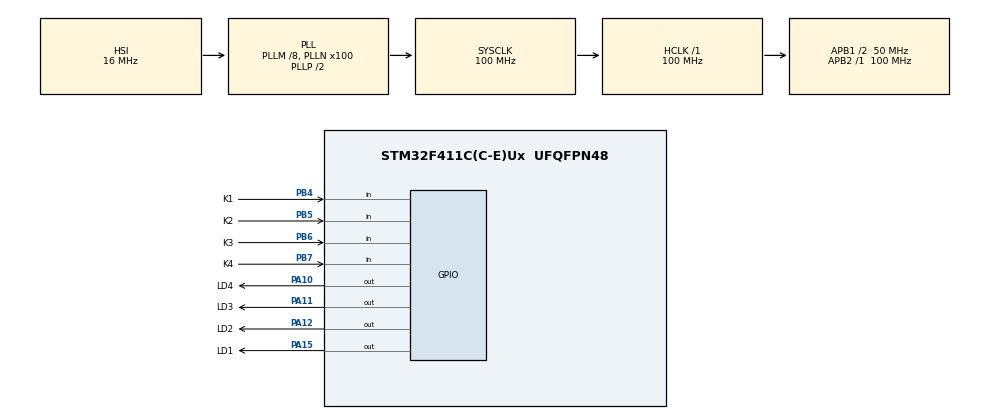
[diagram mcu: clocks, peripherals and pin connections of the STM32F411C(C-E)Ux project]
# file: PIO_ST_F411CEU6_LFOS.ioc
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Mcu.Family=STM32F4
Mcu.Name=STM32F411C(C-E)Ux
Mcu.Package=UFQFPN48
NVIC.PriorityGroup=NVIC_PRIORITYGROUP_4
NVIC.TIM1_TRG_COM_TIM11_IRQn=true\:0\:0\:false\:false\:true\:true\:true
PA10.GPIO_Label=LD4
PA10.GPIO_PuPd=GPIO_PULLDOWN
PA10.Signal=GPIO_Output
PA11.GPIO_Label=LD3
PA11.GPIO_PuPd=GPIO_PULLDOWN
PA11.Signal=GPIO_Output
PA12.GPIO_Label=LD2
PA12.GPIO_PuPd=GPIO_PULLDOWN
PA12.Signal=GPIO_Output
PA15.GPIO_Label=LD1
PA15.GPIO_PuPd=GPIO_PULLDOWN
PA15.Signal=GPIO_Output
PB4.GPIO_Label=K1
PB4.GPIO_PuPd=GPIO_PULLUP
PB4.Signal=GPIO_Input
PB5.GPIO_Label=K2
PB5.GPIO_PuPd=GPIO_PULLUP
PB5.Signal=GPIO_Input
PB6.GPIO_Label=K3
PB6.GPIO_PuPd=GPIO_PULLUP
PB6.Signal=GPIO_Input
PB7.GPIO_Label=K4
PB7.GPIO_PuPd=GPIO_PULLUP
PB7.Signal=GPIO_Input
ProjectManager.HeapSize=0x200
ProjectManager.StackSize=0x400
ProjectManager.TargetToolchain=Makefile
RCC.48MHZClocksFreq_Value=50000000
RCC.AHBFreq_Value=100000000
RCC.APB1CLKDivider=RCC_HCLK_DIV2
RCC.APB1Freq_Value=50000000
RCC.APB1TimFreq_Value=100000000
RCC.APB2Freq_Value=100000000
RCC.APB2TimFreq_Value=100000000
RCC.CortexFreq_Value=100000000
RCC.HCLKFreq_Value=100000000
RCC.HSE_VALUE=25000000
RCC.HSI_VALUE=16000000
RCC.LSE_VALUE=32768
RCC.PLLM=8
RCC.PLLN=100
RCC.SYSCLKFreq_VALUE=100000000
RCC.SYSCLKSource=RCC_SYSCLKSOURCE_PLLCLK
RCC.VCOOutputFreq_Value=200000000
TIM11.AutoReloadPreload=TIM_AUTORELOAD_PRELOAD_ENABLE
TIM11.Period=999
TIM11.Prescaler=99
VP_TIM11_VS_ClockSourceINT.Mode=Enable_Timer
board=custom

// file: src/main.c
/* USER CODE BEGIN Header */
/**
  ******************************************************************************
  * @file           : main.c
  * @brief          : Main program body
  ******************************************************************************
  * @attention
  *
  * Copyright (c) 2022 STMicroelectronics.
  * All rights reserved.
  *
  * This software is licensed under terms that can be found in the LICENSE file
  * in the root directory of this software component.
  * If no LICENSE file comes with this software, it is provided AS-IS.
  *
  ******************************************************************************
  */
/* USER CODE END Header */
#include "main.h"
#include "tim.h"
#include "gpio.h"

/* USER CODE BEGIN Includes */
#include "led.h"
#include "button.h"
#include "LF_OS.h"
/* USER CODE END Includes */

/* USER CODE BEGIN PTD */
void led_blink_task(void);
void btn4_callback(void *btn);
void btn3_callback(void *btn);
void btn2_callback(void *btn);
void btn1_callback(void *btn);
uint8_t read_btn4_level(void);
uint8_t read_btn3_level(void);
uint8_t read_btn2_level(void);
uint8_t read_btn1_level(void);
void btn_process_task(void);
void btn_init(void);
/* USER CODE END PTD */

/* USER CODE BEGIN PV */
Button_t btn1;
Button_t btn2;
Button_t btn3;
Button_t btn4;

/* USER CODE END PV */

void SystemClock_Config(void);

int main(void)
{

  /* MCU Configuration--------------------------------------------------------*/

  /* Reset of all peripherals, Initializes the Flash interface and the Systick. */
  HAL_Init();

  /* Configure the system clock */
  SystemClock_Config();

  /* Initialize all configured peripherals */
  MX_GPIO_Init();
  MX_TIM11_Init();
  btn_init();
  /* USER CODE BEGIN 2 */
  x_l_blink_set(&x_l_red_blink_init,LD4_GPIO_Port,LD4_Pin,X_L_LED_BLINK_MODE_B);
  x_l_blink_set(&x_l_yellow_blink_init,LD3_GPIO_Port,LD3_Pin,X_L_LED_BLINK_MODE_C);
  // x_l_blink_set(&x_l_blue_blink_init,LD2_GPIO_Port,LD2_Pin,X_L_LED_BLINK_MODE_B);
  // x_l_blink_set(&x_l_green_blink_init,LD1_GPIO_Port,LD1_Pin,X_L_LED_BLINK_MODE_C);

  x_l_tsk_reset_task(0, (l_func_t)led_blink_task,	X_L_TSK_TASK_MODE_ENABLE,	0,	100);
  x_l_tsk_reset_task(1, (l_func_t)btn_process_task,	X_L_TSK_TASK_MODE_ENABLE,	0,	20);

  HAL_TIM_Base_Start_IT(&htim11);
  /* USER CODE END 2 */

  /* Infinite loop */
  while (1)
  {
    // Button_Process();
    // HAL_Delay(20);
  }
}

void SystemClock_Config(void)
{
  RCC_OscInitTypeDef RCC_OscInitStruct = {0};
  RCC_ClkInitTypeDef RCC_ClkInitStruct = {0};

  /** Configure the main internal regulator output voltage
  */
  __HAL_RCC_PWR_CLK_ENABLE();
  __HAL_PWR_VOLTAGESCALING_CONFIG(PWR_REGULATOR_VOLTAGE_SCALE1);
  /** Initializes the RCC Oscillators according to the specified parameters
  * in the RCC_OscInitTypeDef structure.
  */
  RCC_OscInitStruct.OscillatorType = RCC_OSCILLATORTYPE_HSI;
  RCC_OscInitStruct.HSIState = RCC_HSI_ON;
  RCC_OscInitStruct.HSICalibrationValue = RCC_HSICALIBRATION_DEFAULT;
  RCC_OscInitStruct.PLL.PLLState = RCC_PLL_ON;
  RCC_OscInitStruct.PLL.PLLSource = RCC_PLLSOURCE_HSI;
  RCC_OscInitStruct.PLL.PLLM = 8;
  RCC_OscInitStruct.PLL.PLLN = 100;
  RCC_OscInitStruct.PLL.PLLP = RCC_PLLP_DIV2;
  RCC_OscInitStruct.PLL.PLLQ = 4;
  if (HAL_RCC_OscConfig(&RCC_OscInitStruct) != HAL_OK)
  {
    Error_Handler();
  }
  /** Initializes the CPU, AHB and APB buses clocks
  */
  RCC_ClkInitStruct.ClockType = RCC_CLOCKTYPE_HCLK|RCC_CLOCKTYPE_SYSCLK
                              |RCC_CLOCKTYPE_PCLK1|RCC_CLOCKTYPE_PCLK2;
  RCC_ClkInitStruct.SYSCLKSource = RCC_SYSCLKSOURCE_PLLCLK;
  RCC_ClkInitStruct.AHBCLKDivider = RCC_SYSCLK_DIV1;
  RCC_ClkInitStruct.APB1CLKDivider = RCC_HCLK_DIV2;
  RCC_ClkInitStruct.APB2CLKDivider = RCC_HCLK_DIV1;

  if (HAL_RCC_ClockConfig(&RCC_ClkInitStruct, FLASH_LATENCY_3) != HAL_OK)
  {
    Error_Handler();
  }
}

/* USER CODE BEGIN 4 */
void btn_init(void)
{
  Button_Create("btn1",&btn1,read_btn1_level,0);
  Button_Create("btn2",&btn2,read_btn2_level,0);
  Button_Create("btn3",&btn3,read_btn3_level,0);
  Button_Create("btn4",&btn4,read_btn4_level,0);

  Button_Attach(&btn1,BUTTON_DOUBLE,(Button_CallBack)btn1_callback);
  Button_Attach(&btn2,BUTTON_LONG,(Button_CallBack)btn2_callback);
  // Button_Attach(&btn3,BUTTON_DOWM,(Button_CallBack)btn3_callback);
  // Button_Attach(&btn4,BUTTON_DOWM,(Button_CallBack)btn4_callback);
}
void led_blink_task(void)
{
   x_l_blink_start(&x_l_red_blink_init);
  // x_l_blink_start(&x_l_blue_blink_init);
   x_l_blink_start(&x_l_yellow_blink_init);
  // x_l_blink_start(&x_l_green_blink_init);
}

void btn1_callback(void *btn)
{
  HAL_GPIO_TogglePin(LD1_GPIO_Port,LD1_Pin);
}
void btn2_callback(void *btn)
{
  HAL_GPIO_TogglePin(LD2_GPIO_Port,LD2_Pin);
}
void btn3_callback(void *btn)
{
  HAL_GPIO_TogglePin(LD3_GPIO_Port,LD3_Pin);
}
void btn4_callback(void *btn)
{
  HAL_GPIO_TogglePin(LD4_GPIO_Port,LD4_Pin);
}

uint8_t read_btn1_level(void)
{
  return HAL_GPIO_ReadPin(K1_GPIO_Port,K1_Pin);
}
uint8_t read_btn2_level(void)
{
  return HAL_GPIO_ReadPin(K2_GPIO_Port,K2_Pin);
}
uint8_t read_btn3_level(void)
{
  return HAL_GPIO_ReadPin(K3_GPIO_Port,K3_Pin);
}
uint8_t read_btn4_level(void)
{
  return HAL_GPIO_ReadPin(K4_GPIO_Port,K4_Pin);
}

void btn_process_task(void)
{
  Button_Process();
}

void Tim11_irq_callback(void)
{
  x_l_tsk_task_exec(0,0);
}

void HAL_TIM_PeriodElapsedCallback(TIM_HandleTypeDef *htim)
{
    if (htim == (&htim11))
    {
      Tim11_irq_callback();
    }
}

/* USER CODE END 4 */

void Error_Handler(void)
{
  __disable_irq();
  while (1)
  {
  }
}
